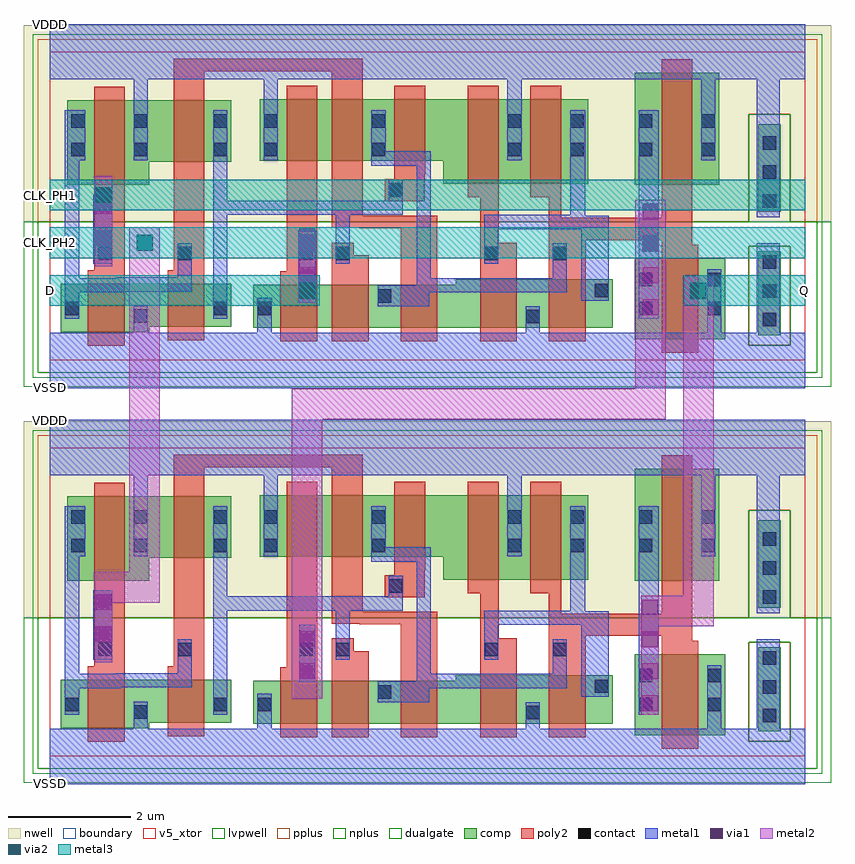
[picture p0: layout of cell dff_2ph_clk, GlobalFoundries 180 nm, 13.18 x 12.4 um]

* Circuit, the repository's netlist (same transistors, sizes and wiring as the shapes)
* NGSPICE file created from dff_2ph_clk.ext - technology: gf180mcuD

.subckt gf180mcu_fd_sc_mcu9t5v0__latq_1 D E Q VDD VSS VNW VPW
X0 VSS a_1020_652# Q VPW nfet_06v0 ad=0.5808p pd=3.52u as=0.5808p ps=3.52u w=1.32u l=0.6u
X1 a_504_110# a_36_92# VDD VNW pfet_06v0 ad=0.44p pd=2.88u as=0.476p ps=2.18u w=1u l=0.5u
X2 VDD a_1020_652# Q VNW pfet_06v0 ad=0.8052p pd=4.54u as=0.8052p ps=4.54u w=1.83u l=0.5u
X3 a_1264_107# a_36_92# a_1020_652# VPW nfet_06v0 ad=0.263p pd=1.49u as=0.182p ps=1.22u w=0.7u l=0.6u
X4 VSS E a_36_92# VPW nfet_06v0 ad=0.263p pd=1.49u as=0.3476p ps=2.46u w=0.79u l=0.6u
X5 VSS a_1364_532# a_1264_107# VPW nfet_06v0 ad=0.2054p pd=1.31u as=0.263p ps=1.49u w=0.79u l=0.6u
X6 VDD E a_36_92# VNW pfet_06v0 ad=0.476p pd=2.18u as=0.6072p ps=3.64u w=1.38u l=0.5u
X7 VDD a_1364_532# a_1224_652# VNW pfet_06v0 ad=0.3588p pd=1.9u as=0.426p ps=2.08u w=1.38u l=0.5u
X8 a_872_652# D VDD VNW pfet_06v0 ad=0.12p pd=1.24u as=0.44p ps=2.88u w=1u l=0.5u
X9 a_1364_532# a_1020_652# VDD VNW pfet_06v0 ad=0.6072p pd=3.64u as=0.3588p ps=1.9u w=1.38u l=0.5u
X10 a_1020_652# a_504_110# a_872_107# VPW nfet_06v0 ad=0.182p pd=1.22u as=83.99999f ps=0.94u w=0.7u l=0.6u
X11 a_872_107# D VSS VPW nfet_06v0 ad=83.99999f pd=0.94u as=0.308p ps=2.28u w=0.7u l=0.6u
X12 a_1020_652# a_36_92# a_872_652# VNW pfet_06v0 ad=0.26p pd=1.52u as=0.12p ps=1.24u w=1u l=0.5u
X13 a_504_110# a_36_92# VSS VPW nfet_06v0 ad=0.308p pd=2.28u as=0.263p ps=1.49u w=0.7u l=0.6u
X14 a_1364_532# a_1020_652# VSS VPW nfet_06v0 ad=0.3476p pd=2.46u as=0.2054p ps=1.31u w=0.79u l=0.6u
X15 a_1224_652# a_504_110# a_1020_652# VNW pfet_06v0 ad=0.426p pd=2.08u as=0.26p ps=1.52u w=1u l=0.5u
.ends

.subckt dff_2ph_clk VSSD VDDD CLK_PH1 CLK_PH2 D Q
Xgf180mcu_fd_sc_mcu9t5v0__latq_1_0 gf180mcu_fd_sc_mcu9t5v0__latq_1_1/Q CLK_PH2 Q VDDD
+ VSSD VDDD VSSD gf180mcu_fd_sc_mcu9t5v0__latq_1
Xgf180mcu_fd_sc_mcu9t5v0__latq_1_1 D CLK_PH1 gf180mcu_fd_sc_mcu9t5v0__latq_1_1/Q VDDD
+ VSSD VDDD VSSD gf180mcu_fd_sc_mcu9t5v0__latq_1
.ends

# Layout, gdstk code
import gdstk
lib = gdstk.Library(unit=1e-6, precision=5e-09)
def R(c, l, rs):  # rectangles x0, y0, x1, y1
    for r in rs: c.add(gdstk.rectangle(r[:2], r[2:], *l))
def A(c, l, x, y, w, h, nx, ny, dx, dy):  # array of equal rectangles
    R(c, l, [(x+i*dx, y+j*dy, x+i*dx+w, y+j*dy+h) for i in range(nx) for j in range(ny)])
def P(c, l, *ps):  # polygons
    for p in ps: c.add(gdstk.Polygon(p, *l))
boundary = (0, 0)
nwell = (21, 0)
comp = (22, 0)
poly2 = (30, 0)
pplus = (31, 0)
nplus = (32, 0)
contact = (33, 0)
metal1 = (34, 0)
via1 = (35, 0)
metal2 = (36, 0)
via2 = (38, 0)
metal3 = (42, 0)
dualgate = (55, 0)
v5_xtor = (112, 1)
lvpwell = (204, 0)

gf180mcu_fd_sc_mcu9t5v0_ = lib.new_cell('gf180mcu_fd_sc_mcu9t5v0__latq_1')
R(gf180mcu_fd_sc_mcu9t5v0_, boundary, [(0,0,11.2,5.04)])
R(gf180mcu_fd_sc_mcu9t5v0_, nwell, [(-0.43,2.265,11.63,5.47)])
R(gf180mcu_fd_sc_mcu9t5v0_, comp, [(9.54,0.345,11.02,1.665), (9.54,2.865,10.92,4.695)])
P(gf180mcu_fd_sc_mcu9t5v0_, comp, [(0.18,0.46),(0.18,1.25),(2.96,1.25),(2.96,0.55),(1.62,0.55),(1.62,0.46)],
  [(0.28,2.865),(0.28,4.245),(2.96,4.245),(2.96,3.245),(1.62,3.245),(1.62,2.865)],
  [(6.42,2.88),(6.42,3.26),(3.42,3.26),(3.42,4.26),(8.78,4.26),(8.78,2.88)],
  [(3.32,0.535),(3.32,1.235),(6.62,1.235),(6.62,1.325),(9.18,1.325),(9.18,0.535)])
P(gf180mcu_fd_sc_mcu9t5v0_, poly2, [(0.62,0.24),(0.62,1.47),(0.72,1.47),(0.72,4.465),(1.22,4.465),(1.22,0.24)],
  [(3.76,0.315),(3.76,1.455),(3.86,1.455),(3.86,4.48),(4.36,4.48),(4.36,0.315)],
  [(4.6,0.315),(4.6,1.925),(4.96,1.925),(4.96,1.715),(5.2,1.715),(5.2,0.315)],
  [(5.46,2.6),(5.46,2.96),(5.62,2.96),(5.62,4.48),(6.12,4.48),(6.12,3.04),(6.115,3.04),(6.115,2.6)],
  [(5.72,0.315),(5.72,2.16),(5.055,2.16),(5.055,2.165),(4.6,2.165),(4.6,4.72),(2.52,4.72),(2.52,0.33),(1.92,0.33),(1.92,1.47),(2.02,1.47),(2.02,4.92),(5.1,4.92),(5.1,2.36),(6.32,2.36),(6.32,0.315)],
  [(7.02,0.315),(7.02,2.66),(6.82,2.66),(6.82,4.48),(7.32,4.48),(7.32,1.925),(7.62,1.925),(7.62,0.315)],
  [(9.98,0.125),(9.98,1.965),(8.74,1.965),(8.74,0.315),(8.14,0.315),(8.14,2.66),(7.84,2.66),(7.84,4.48),(8.34,4.48),(8.34,2.325),(9.98,2.325),(9.98,4.915),(10.48,4.915),(10.48,1.885),(10.58,1.885),(10.58,0.125)])
R(gf180mcu_fd_sc_mcu9t5v0_, pplus, [(-0.2,2.265,11.4,5.24)])
R(gf180mcu_fd_sc_mcu9t5v0_, nplus, [(-0.2,-0.2,11.4,2.265)])
R(gf180mcu_fd_sc_mcu9t5v0_, contact, [(7.77,0.605,7.99,0.825), (1.37,0.615,1.59,0.835), (0.25,0.74,0.47,0.96), (2.67,0.74,2.89,0.96), (3.39,0.74,3.61,0.96), (9.61,0.74,9.83,0.96), (10.73,0.74,10.95,0.96), (5.35,0.945,5.57,1.165), (8.89,1.035,9.11,1.255), (9.61,1.21,9.83,1.43), (10.73,1.21,10.95,1.43), (0.79,1.635,1.01,1.855), (2.09,1.635,2.31,1.855), (4.07,1.635,4.29,1.855), (4.67,1.635,4.89,1.855), (7.09,1.635,7.31,1.855), (8.21,1.635,8.43,1.855), (5.53,2.67,5.75,2.89), (0.35,3.33,0.57,3.55), (1.37,3.33,1.59,3.55), (2.67,3.33,2.89,3.55), (3.49,3.33,3.71,3.55), (5.25,3.33,5.47,3.55), (7.47,3.33,7.69,3.55), (8.49,3.33,8.71,3.55), (9.61,3.33,9.83,3.55), (10.63,3.33,10.85,3.55), (0.35,3.8,0.57,4.02), (1.37,3.8,1.59,4.02), (2.67,3.8,2.89,4.02), (3.49,3.8,3.71,4.02), (5.25,3.8,5.47,4.02), (7.47,3.8,7.69,4.02), (8.49,3.8,8.71,4.02), (9.61,3.8,9.83,4.02), (10.63,3.8,10.85,4.02)])
R(gf180mcu_fd_sc_mcu9t5v0_, metal1, [(9.605,0.68,9.93,4.08), (4.065,1.21,4.33,2.15), (0.71,1.575,1.015,2.71)])
P(gf180mcu_fd_sc_mcu9t5v0_, metal1, [(0.245,0.68),(0.245,4.08),(0.575,4.08),(0.575,3.27),(0.475,3.27),(0.475,1.345),(1.085,1.345),(1.085,1.355),(2.085,1.355),(2.085,1.915),(2.315,1.915),(2.315,1.125),(1.155,1.125),(1.155,1.115),(0.475,1.115),(0.475,0.68)],
  [(2.665,0.68),(2.665,4.08),(2.895,4.08),(2.895,2.61),(5.525,2.61),(5.525,2.95),(5.755,2.95),(5.755,2.38),(4.895,2.38),(4.895,1.575),(4.665,1.575),(4.665,2.38),(2.895,2.38),(2.895,0.68)],
  [(5.345,0.885),(5.345,1.225),(5.985,1.225),(5.985,3.18),(5.245,3.18),(5.245,4.08),(5.475,4.08),(5.475,3.41),(6.215,3.41),(6.215,1.345),(8.205,1.345),(8.205,1.915),(8.435,1.915),(8.435,1.115),(6.19,1.115),(6.19,0.885)],
  [(8.665,0.975),(8.665,2.145),(7.315,2.145),(7.315,1.575),(7.085,1.575),(7.085,2.375),(8.485,2.375),(8.485,4.08),(8.735,4.08),(8.735,2.365),(9.115,2.365),(9.115,0.975)],
  [(0,-0.45),(0,0.45),(1.365,0.45),(1.365,0.895),(1.595,0.895),(1.595,0.45),(3.385,0.45),(3.385,1.02),(3.615,1.02),(3.615,0.45),(7.765,0.45),(7.765,0.885),(7.995,0.885),(7.995,0.45),(10.725,0.45),(10.725,1.49),(10.955,1.49),(10.955,0.45),(11.2,0.45),(11.2,-0.45)],
  [(1.365,3.27),(1.365,4.59),(0,4.59),(0,5.49),(11.2,5.49),(11.2,4.59),(10.855,4.59),(10.855,3.27),(10.625,3.27),(10.625,4.59),(7.695,4.59),(7.695,3.27),(7.465,3.27),(7.465,4.59),(3.715,4.59),(3.715,3.27),(3.485,3.27),(3.485,4.59),(1.595,4.59),(1.595,3.27)])
R(gf180mcu_fd_sc_mcu9t5v0_, dualgate, [(-0.28,-0.28,11.48,5.32)])
R(gf180mcu_fd_sc_mcu9t5v0_, v5_xtor, [(0,0,11.2,5.04)])
R(gf180mcu_fd_sc_mcu9t5v0_, lvpwell, [(-0.43,-0.43,11.63,2.265)])
gf180mcu_fd_sc_mcu9t5v0_.add(gdstk.Label('D', (4.2,1.4), layer=34, texttype=10))
gf180mcu_fd_sc_mcu9t5v0_.add(gdstk.Label('E', (0.84,1.96), layer=34, texttype=10))
gf180mcu_fd_sc_mcu9t5v0_.add(gdstk.Label('Q', (9.8,2.52), layer=34, texttype=10))
gf180mcu_fd_sc_mcu9t5v0_.add(gdstk.Label('VDD', (5.6,5.49), layer=34, texttype=10))
gf180mcu_fd_sc_mcu9t5v0_.add(gdstk.Label('VSS', (5.6,-0.45), layer=34, texttype=10))
gf180mcu_fd_sc_mcu9t5v0_.add(gdstk.Label('& Vendor GLOBALFOUNDRIES', (0,2), layer=63, texttype=63))
gf180mcu_fd_sc_mcu9t5v0_.add(gdstk.Label('& Product GF018hv5v_green_sc9', (0,1.5), layer=63, texttype=63))
gf180mcu_fd_sc_mcu9t5v0_.add(gdstk.Label('& Version 2015q2v2', (0,1), layer=63, texttype=63))
gf180mcu_fd_sc_mcu9t5v0_.add(gdstk.Label('& Metric 1.00', (0,0.5), layer=63, texttype=63))
gf180mcu_fd_sc_mcu9t5v0_.add(gdstk.Label('VNW', (0.345,3.92), layer=21, texttype=10))
gf180mcu_fd_sc_mcu9t5v0_.add(gdstk.Label('VPW', (0.34,-0.085), layer=204, texttype=10))

c_gf180mcu_fd_sc_mcu9t5v0_ = lib.new_cell('gf180mcu_fd_sc_mcu9t5v0__filltie')
R(c_gf180mcu_fd_sc_mcu9t5v0_, boundary, [(0,0,1.12,5.04)])
R(c_gf180mcu_fd_sc_mcu9t5v0_, nwell, [(-0.43,2.265,1.55,5.47)])
R(c_gf180mcu_fd_sc_mcu9t5v0_, comp, [(0.36,0.41,0.72,1.785), (0.36,2.425,0.72,3.855)])
R(c_gf180mcu_fd_sc_mcu9t5v0_, pplus, [(0.2,0.25,0.88,1.865)])
P(c_gf180mcu_fd_sc_mcu9t5v0_, pplus, [(-0.2,2.265),(-0.2,5.24),(1.32,5.24),(1.32,2.265),(0.88,2.265),(0.88,4.015),(0.2,4.015),(0.2,2.265)])
P(c_gf180mcu_fd_sc_mcu9t5v0_, nplus, [(-0.2,-0.2),(-0.2,2.265),(0.2,2.265),(0.2,4.015),(0.88,4.015),(0.88,1.865),(0.2,1.865),(0.2,0.25),(0.88,0.25),(0.88,4.015),(0.88,2.265),(1.32,2.265),(1.32,-0.2)])
A(c_gf180mcu_fd_sc_mcu9t5v0_, contact, 0.43, 0.555, 0.22, 0.22, 1, 3, 0, 0.47)
A(c_gf180mcu_fd_sc_mcu9t5v0_, contact, 0.43, 2.495, 0.22, 0.22, 1, 3, 0, 0.47)
P(c_gf180mcu_fd_sc_mcu9t5v0_, metal1, [(0,-0.45),(0,0.45),(0.33,0.45),(0.33,1.91),(0.71,1.91),(0.71,0.45),(1.12,0.45),(1.12,-0.45)],
  [(0.33,2.34),(0.33,4.59),(0,4.59),(0,5.49),(1.12,5.49),(1.12,4.59),(0.71,4.59),(0.71,2.34)])
R(c_gf180mcu_fd_sc_mcu9t5v0_, dualgate, [(-0.28,-0.28,1.4,5.32)])
R(c_gf180mcu_fd_sc_mcu9t5v0_, v5_xtor, [(0,0,1.12,5.04)])
R(c_gf180mcu_fd_sc_mcu9t5v0_, lvpwell, [(-0.43,-0.43,1.55,2.265)])
c_gf180mcu_fd_sc_mcu9t5v0_.add(gdstk.Label('VSS', (0.56,-0.45), layer=34, texttype=10))
c_gf180mcu_fd_sc_mcu9t5v0_.add(gdstk.Label('VDD', (0.56,5.49), layer=34, texttype=10))
c_gf180mcu_fd_sc_mcu9t5v0_.add(gdstk.Label('& Vendor GLOBALFOUNDRIES', (0,2), layer=63, texttype=63))
c_gf180mcu_fd_sc_mcu9t5v0_.add(gdstk.Label('& Product GF018hv5v_green_sc9', (0,1.5), layer=63, texttype=63))
c_gf180mcu_fd_sc_mcu9t5v0_.add(gdstk.Label('& Version 2015q2v2', (0,1), layer=63, texttype=63))
c_gf180mcu_fd_sc_mcu9t5v0_.add(gdstk.Label('& Metric 1.00', (0,0.5), layer=63, texttype=63))

dff_2ph_clk = lib.new_cell('dff_2ph_clk')
R(dff_2ph_clk, metal1, [(-11.2,-5.49,1.12,-4.59), (-11.2,-0.45,1.12,0.45)])
A(dff_2ph_clk, via1, -1.54, -10.76, 0.26, 0.26, 1, 4, 0, 0.52)
A(dff_2ph_clk, via1, -1.53, -4.3, 0.26, 0.26, 1, 4, 0, 0.52)
R(dff_2ph_clk, via1, [(-7.135,-10.23,-6.875,-9.97), (-7.135,-9.71,-6.875,-9.45), (-10.455,-9.635,-10.195,-9.375), (-10.455,-9.115,-10.195,-8.855), (-7.135,-3.77,-6.875,-3.51), (-7.135,-3.25,-6.875,-2.99), (-10.455,-3.175,-10.195,-2.915), (-10.455,-2.655,-10.195,-2.395)])
R(dff_2ph_clk, metal2, [(-1.55,-10.82,-1.27,-8.88), (-7.135,-10.56,-6.855,-9.385), (-10.465,-9.965,-10.185,-8.49), (-7.145,-4.1,-6.855,-2.925), (-10.465,-3.505,-10.185,-2.03)])
R(dff_2ph_clk, via2, [(-7.135,-4.03,-6.875,-3.77), (-0.75,-4.03,-0.49,-3.77), (-9.785,-3.25,-9.525,-2.99), (-10.455,-2.47,-10.195,-2.21)])
dff_2ph_clk.add(gdstk.FlexPath([(-11.205,-3.9),(-6.795,-3.9)], 0.5, ends="flush", simple_path=True, layer=42, datatype=0))  # metal3
dff_2ph_clk.add(gdstk.FlexPath([(-0.87,-3.9),(1.12,-3.9)], 0.5, ends="flush", simple_path=True, layer=42, datatype=0))  # metal3
dff_2ph_clk.add(gdstk.FlexPath([(-11.205,-3.12),(1.12,-3.12)], 0.5, ends="flush", simple_path=True, layer=42, datatype=0))  # metal3
dff_2ph_clk.add(gdstk.FlexPath([(-11.205,-2.34),(1.12,-2.34)], 0.5, ends="flush", simple_path=True, layer=42, datatype=0))  # metal3
dff_2ph_clk.add(gdstk.FlexPath([(-0.62,-3.65),(-0.62,-8.88)], 0.5, ends="flush", simple_path=True, layer=36, datatype=0))  # metal2
dff_2ph_clk.add(gdstk.FlexPath([(-1.27,-9.13),(-0.37,-9.13)], 0.5, ends="flush", simple_path=True, layer=36, datatype=0))  # metal2
dff_2ph_clk.add(gdstk.FlexPath([(-7.255,-5.75),(-1.15,-5.75)], 0.5, ends="flush", simple_path=True, layer=36, datatype=0))  # metal2
dff_2ph_clk.add(gdstk.FlexPath([(-9.655,-2.87),(-9.655,-8.99)], 0.5, ends="flush", simple_path=True, layer=36, datatype=0))  # metal2
dff_2ph_clk.add(gdstk.FlexPath([(-10.185,-8.74),(-9.905,-8.74)], 0.5, ends="flush", simple_path=True, layer=36, datatype=0))  # metal2
dff_2ph_clk.add(gdstk.FlexPath([(-1.4,-2.42),(-1.4,-5.5)], 0.5, ends="flush", simple_path=True, layer=36, datatype=0))  # metal2
dff_2ph_clk.add(gdstk.FlexPath([(-7.005,-6),(-7.005,-10.56)], 0.5, ends="flush", simple_path=True, layer=36, datatype=0))  # metal2
dff_2ph_clk.add(gdstk.Reference(gf180mcu_fd_sc_mcu9t5v0_, (-11.2,-5.04)))
dff_2ph_clk.add(gdstk.Reference(c_gf180mcu_fd_sc_mcu9t5v0_, (0,-5.04)))
dff_2ph_clk.add(gdstk.Reference(gf180mcu_fd_sc_mcu9t5v0_, (-11.2,-11.5)))
dff_2ph_clk.add(gdstk.Reference(c_gf180mcu_fd_sc_mcu9t5v0_, (0,-11.5)))
dff_2ph_clk.add(gdstk.Label('VSSD', (-11.185,-11.945), layer=34, texttype=10))
dff_2ph_clk.add(gdstk.Label('VDDD', (-11.185,-6.025), layer=34, texttype=10))
dff_2ph_clk.add(gdstk.Label('VSSD', (-11.19,-5.48), layer=34, texttype=10))
dff_2ph_clk.add(gdstk.Label('VDDD', (-11.19,0.44), layer=34, texttype=10))
dff_2ph_clk.add(gdstk.Label('Q', (1.105,-3.9), layer=42, texttype=10))
dff_2ph_clk.add(gdstk.Label('CLK_PH1', (-11.195,-2.34), layer=42, texttype=10))
dff_2ph_clk.add(gdstk.Label('CLK_PH2', (-11.195,-3.12), layer=42, texttype=10))
dff_2ph_clk.add(gdstk.Label('D', (-11.195,-3.9), layer=42, texttype=10))

lib.write_gds('dff_2ph_clk.gds')
